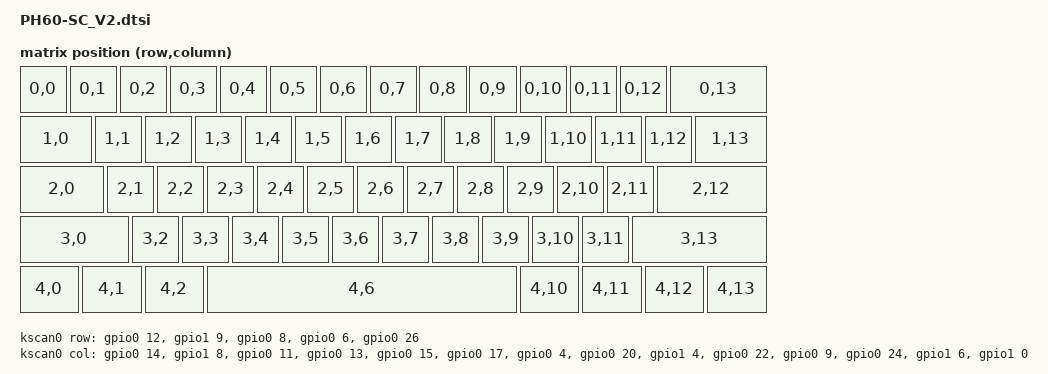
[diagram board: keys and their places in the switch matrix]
/*
 * Copyright (c) 2025 Team PHDesign
 *
 * SPDX-License-Identifier: MIT
 */

#include <dt-bindings/zmk/matrix_transform.h>
#include <physical_layouts.dtsi>

/ {
	chosen {
		zmk,kscan = &kscan0;
		zmk,physical-layout = &PH60SC_layout;
	};

	PH60SC_layout: PH60SC_layout {
		compatible = "zmk,physical-layout";
		display-name = "60% ANSI Layout";
		
		keys  //                     w   h    x    y     rot    rx    ry
			= <&key_physical_attrs 100 100    0    0       0     0     0>
			, <&key_physical_attrs 100 100  100    0       0     0     0>
			, <&key_physical_attrs 100 100  200    0       0     0     0>
			, <&key_physical_attrs 100 100  300    0       0     0     0>
			, <&key_physical_attrs 100 100  400    0       0     0     0>
			, <&key_physical_attrs 100 100  500    0       0     0     0>
			, <&key_physical_attrs 100 100  600    0       0     0     0>
			, <&key_physical_attrs 100 100  700    0       0     0     0>
			, <&key_physical_attrs 100 100  800    0       0     0     0>
			, <&key_physical_attrs 100 100  900    0       0     0     0>
			, <&key_physical_attrs 100 100 1000    0       0     0     0>
			, <&key_physical_attrs 100 100 1100    0       0     0     0>
			, <&key_physical_attrs 100 100 1200    0       0     0     0>
			, <&key_physical_attrs 200 100 1300    0       0     0     0>
			, <&key_physical_attrs 150 100    0  100       0     0     0>
			, <&key_physical_attrs 100 100  150  100       0     0     0>
			, <&key_physical_attrs 100 100  250  100       0     0     0>
			, <&key_physical_attrs 100 100  350  100       0     0     0>
			, <&key_physical_attrs 100 100  450  100       0     0     0>
			, <&key_physical_attrs 100 100  550  100       0     0     0>
			, <&key_physical_attrs 100 100  650  100       0     0     0>
			, <&key_physical_attrs 100 100  750  100       0     0     0>
			, <&key_physical_attrs 100 100  850  100       0     0     0>
			, <&key_physical_attrs 100 100  950  100       0     0     0>
			, <&key_physical_attrs 100 100 1050  100       0     0     0>
			, <&key_physical_attrs 100 100 1150  100       0     0     0>
			, <&key_physical_attrs 100 100 1250  100       0     0     0>
			, <&key_physical_attrs 150 100 1350  100       0     0     0>
			, <&key_physical_attrs 175 100    0  200       0     0     0>
			, <&key_physical_attrs 100 100  175  200       0     0     0>
			, <&key_physical_attrs 100 100  275  200       0     0     0>
			, <&key_physical_attrs 100 100  375  200       0     0     0>
			, <&key_physical_attrs 100 100  475  200       0     0     0>
			, <&key_physical_attrs 100 100  575  200       0     0     0>
			, <&key_physical_attrs 100 100  675  200       0     0     0>
			, <&key_physical_attrs 100 100  775  200       0     0     0>
			, <&key_physical_attrs 100 100  875  200       0     0     0>
			, <&key_physical_attrs 100 100  975  200       0     0     0>
			, <&key_physical_attrs 100 100 1075  200       0     0     0>
			, <&key_physical_attrs 100 100 1175  200       0     0     0>
			, <&key_physical_attrs 225 100 1275  200       0     0     0>
			, <&key_physical_attrs 225 100    0  300       0     0     0>
			, <&key_physical_attrs 100 100  225  300       0     0     0>
			, <&key_physical_attrs 100 100  325  300       0     0     0>
			, <&key_physical_attrs 100 100  425  300       0     0     0>
			, <&key_physical_attrs 100 100  525  300       0     0     0>
			, <&key_physical_attrs 100 100  625  300       0     0     0>
			, <&key_physical_attrs 100 100  725  300       0     0     0>
			, <&key_physical_attrs 100 100  825  300       0     0     0>
			, <&key_physical_attrs 100 100  925  300       0     0     0>
			, <&key_physical_attrs 100 100 1025  300       0     0     0>
			, <&key_physical_attrs 100 100 1125  300       0     0     0>
			, <&key_physical_attrs 275 100 1225  300       0     0     0>
			, <&key_physical_attrs 125 100    0  400       0     0     0>
			, <&key_physical_attrs 125 100  125  400       0     0     0>
			, <&key_physical_attrs 125 100  250  400       0     0     0>
			, <&key_physical_attrs 625 100  375  400       0     0     0>
			, <&key_physical_attrs 125 100 1000  400       0     0     0>
			, <&key_physical_attrs 125 100 1125  400       0     0     0>
			, <&key_physical_attrs 125 100 1250  400       0     0     0>
			, <&key_physical_attrs 125 100 1375  400       0     0     0>
			;
	};

	default_transform: keymap_transform_0 {
		compatible = "zmk,matrix-transform";
		columns = <14>;
		rows = <5>;
		// 60% ANSI Layout - 61 keys
		map = <
RC(0,0) RC(0,1) RC(0,2) RC(0,3) RC(0,4) RC(0,5) RC(0,6) RC(0,7) RC(0,8) RC(0,9) RC(0,10) RC(0,11) RC(0,12)     RC(0,13)
RC(1,0)   RC(1,1) RC(1,2) RC(1,3) RC(1,4) RC(1,5) RC(1,6) RC(1,7) RC(1,8) RC(1,9) RC(1,10) RC(1,11) RC(1,12)   RC(1,13)
RC(2,0)     RC(2,1) RC(2,2) RC(2,3) RC(2,4) RC(2,5) RC(2,6) RC(2,7) RC(2,8) RC(2,9) RC(2,10) RC(2,11)          RC(2,12)
RC(3,0)       RC(3,2) RC(3,3) RC(3,4) RC(3,5) RC(3,6) RC(3,7) RC(3,8) RC(3,9) RC(3,10) RC(3,11)               RC(3,13)
RC(4,0)  RC(4,1)  RC(4,2)                   RC(4,6)                    RC(4,10)  RC(4,11) RC(4,12)             RC(4,13)
		>;
	};

	kscan0: kscan {
		compatible = "zmk,kscan-gpio-matrix";
		label = "KSCAN";
		diode-direction = "col2row";
		wakeup-source;
		
		row-gpios
			= <&gpio0 12 (GPIO_ACTIVE_HIGH | GPIO_PULL_DOWN)>
			, <&gpio1 9  (GPIO_ACTIVE_HIGH | GPIO_PULL_DOWN)>
			, <&gpio0 8  (GPIO_ACTIVE_HIGH | GPIO_PULL_DOWN)>
			, <&gpio0 6  (GPIO_ACTIVE_HIGH | GPIO_PULL_DOWN)>
			, <&gpio0 26  (GPIO_ACTIVE_HIGH | GPIO_PULL_DOWN)>
			;
		
		col-gpios
			= <&gpio0 14 GPIO_ACTIVE_HIGH>
			, <&gpio1 8 GPIO_ACTIVE_HIGH>
			, <&gpio0 11 GPIO_ACTIVE_HIGH>
			, <&gpio0 13 GPIO_ACTIVE_HIGH>
			, <&gpio0 15 GPIO_ACTIVE_HIGH>
			, <&gpio0 17 GPIO_ACTIVE_HIGH>
			, <&gpio0 4 GPIO_ACTIVE_HIGH>
			, <&gpio0 20 GPIO_ACTIVE_HIGH>
			, <&gpio1 4 GPIO_ACTIVE_HIGH>
			, <&gpio0 22 GPIO_ACTIVE_HIGH>
			, <&gpio0 9 GPIO_ACTIVE_HIGH>
			, <&gpio0 24 GPIO_ACTIVE_HIGH>
			, <&gpio1 6 GPIO_ACTIVE_HIGH>
			, <&gpio1 0  GPIO_ACTIVE_HIGH>
			;
	};
};

&PH60SC_layout {
	transform = <&default_transform>;
};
